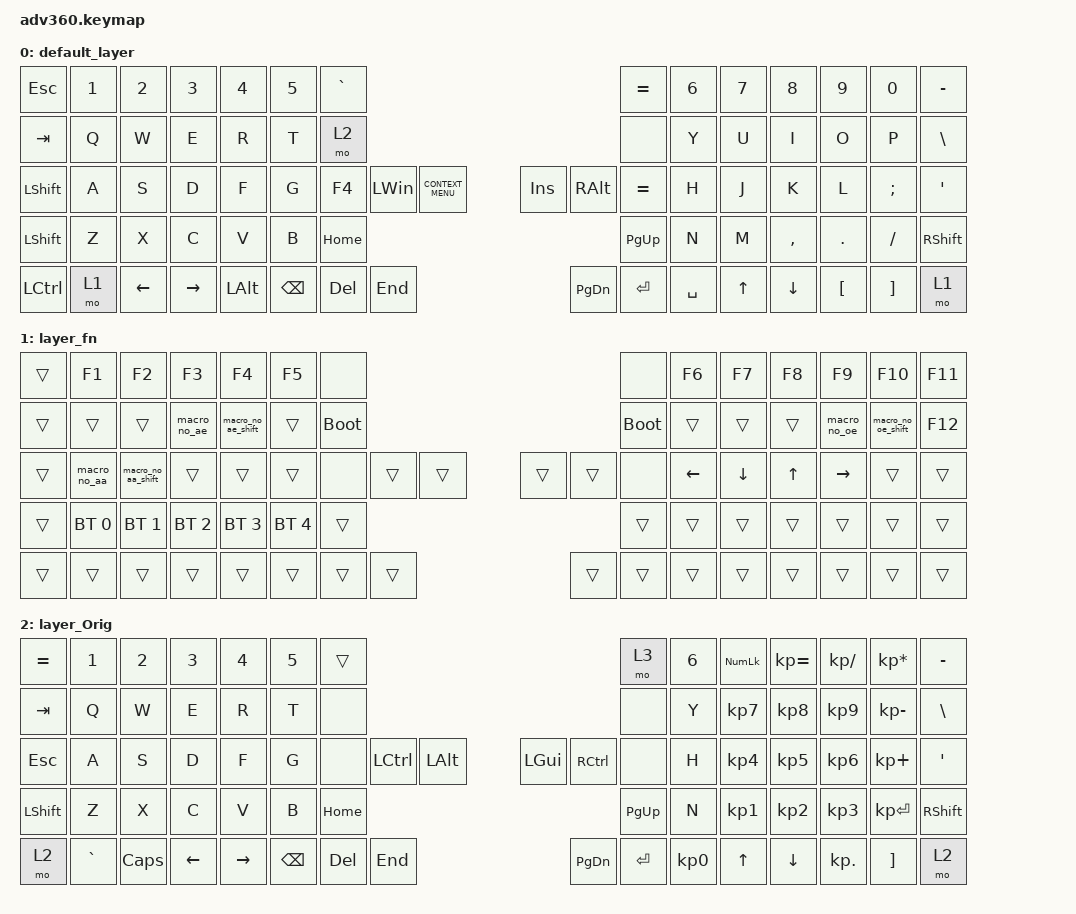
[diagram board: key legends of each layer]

/*
 * Copyright (c) 2020 The ZMK Contributors
 *
 * SPDX-License-Identifier: MIT
 */


/* THIS FILE WAS GENERATED!
 *
 * This file was generated automatically. You may or may not want to
 * edit it directly.
 */

#include <behaviors.dtsi>
#include <dt-bindings/zmk/keys.h>
#include <dt-bindings/zmk/bt.h>

/ {
  behaviors {
    #include "macros.dtsi"
    #include "version.dtsi"

    hm: homerow_mods {
        compatible = "zmk,behavior-hold-tap";
        label = "HOMEROW_MODS";
        #binding-cells = <2>;
        tapping-term-ms = <200>;
        quick_tap_ms = <175>;
        flavor = "tap-preferred";
        bindings = <&kp>, <&kp>;
    };
  };

    keymap {
        compatible = "zmk,keymap";


        default_layer {
            bindings = <
        &kp ESC  &kp N1    &kp N2     &kp N3        &kp N4  &kp N5            &kp GRAVE                                                                          &kp EQUAL  &kp N6  &kp N7     &kp N8    &kp N9    &kp N0  &kp MINUS
        &kp TAB   &kp Q     &kp W      &kp E         &kp R   &kp T                &mo 2                                                                              &none   &kp Y   &kp U      &kp I     &kp O     &kp P   &kp BSLH
 &kp LEFT_SHIFT   &kp A     &kp S      &kp D         &kp F   &kp G               &kp F4  &kp LWIN  &kp K_CONTEXT_MENU                    &kp INS  &kp RIGHT_ALT  &kp EQUAL   &kp H   &kp J      &kp K     &kp L  &kp SEMI    &kp SQT
 &kp LEFT_SHIFT   &kp Z     &kp X      &kp C         &kp V   &kp B                                           &kp HOME                  &kp PG_UP                             &kp N   &kp M  &kp COMMA   &kp DOT  &kp FSLH  &kp RSHFT
      &kp LCTRL   &mo 1  &kp LEFT  &kp RIGHT  &kp LEFT_ALT                     &kp BSPC   &kp DEL             &kp END                  &kp PG_DN      &kp ENTER  &kp SPACE          &kp UP   &kp DOWN  &kp LBKT  &kp RBKT      &mo 1
            >;
        };

        layer_fn {
            bindings = <
 &trans        &kp F1              &kp F2        &kp F3              &kp F4        &kp F5                  &none                                                        &none    &kp F6          &kp F7  &kp F8        &kp F9             &kp F10  &kp F11
 &trans        &trans              &trans  &macro_no_ae  &macro_no_ae_shift        &trans            &bootloader                                                  &bootloader    &trans          &trans  &trans  &macro_no_oe  &macro_no_oe_shift  &kp F12
 &trans  &macro_no_aa  &macro_no_aa_shift        &trans              &trans        &trans                  &none  &trans  &trans                  &trans  &trans        &none  &kp LEFT  &kp DOWN_ARROW  &kp UP     &kp RIGHT              &trans   &trans
 &trans  &bt BT_SEL 0        &bt BT_SEL 1  &bt BT_SEL 2        &bt BT_SEL 3  &bt BT_SEL 4                                 &trans                  &trans                         &trans          &trans  &trans        &trans              &trans   &trans
 &trans        &trans              &trans        &trans              &trans                               &trans  &trans  &trans                  &trans  &trans       &trans                    &trans  &trans        &trans              &trans   &trans
            >;
        };

        layer_Orig {
            bindings = <
 &kp EQUAL     &kp N1    &kp N2    &kp N3     &kp N4  &kp N5              &trans                                                                 &mo 3  &kp N6  &kp KP_NUM  &kp KP_EQUAL  &kp KP_DIVIDE  &kp KP_MULTIPLY  &kp MINUS
   &kp TAB      &kp Q     &kp W     &kp E      &kp R   &kp T               &none                                                                 &none   &kp Y   &kp KP_N7     &kp KP_N8      &kp KP_N9     &kp KP_MINUS   &kp BSLH
   &kp ESC      &kp A     &kp S     &kp D      &kp F   &kp G               &none  &kp LCTRL  &kp LALT                   &kp LGUI  &kp RCTRL      &none   &kp H   &kp KP_N4     &kp KP_N5      &kp KP_N6      &kp KP_PLUS    &kp SQT
 &kp LSHFT      &kp Z     &kp X     &kp C      &kp V   &kp B                                 &kp HOME                  &kp PG_UP                         &kp N   &kp KP_N1     &kp KP_N2      &kp KP_N3     &kp KP_ENTER  &kp RSHFT
     &mo 2  &kp GRAVE  &kp CAPS  &kp LEFT  &kp RIGHT                    &kp BSPC    &kp DEL   &kp END                  &kp PG_DN  &kp ENTER  &kp KP_N0              &kp UP      &kp DOWN     &kp KP_DOT         &kp RBKT      &mo 2
            >;
        };

    };
};
